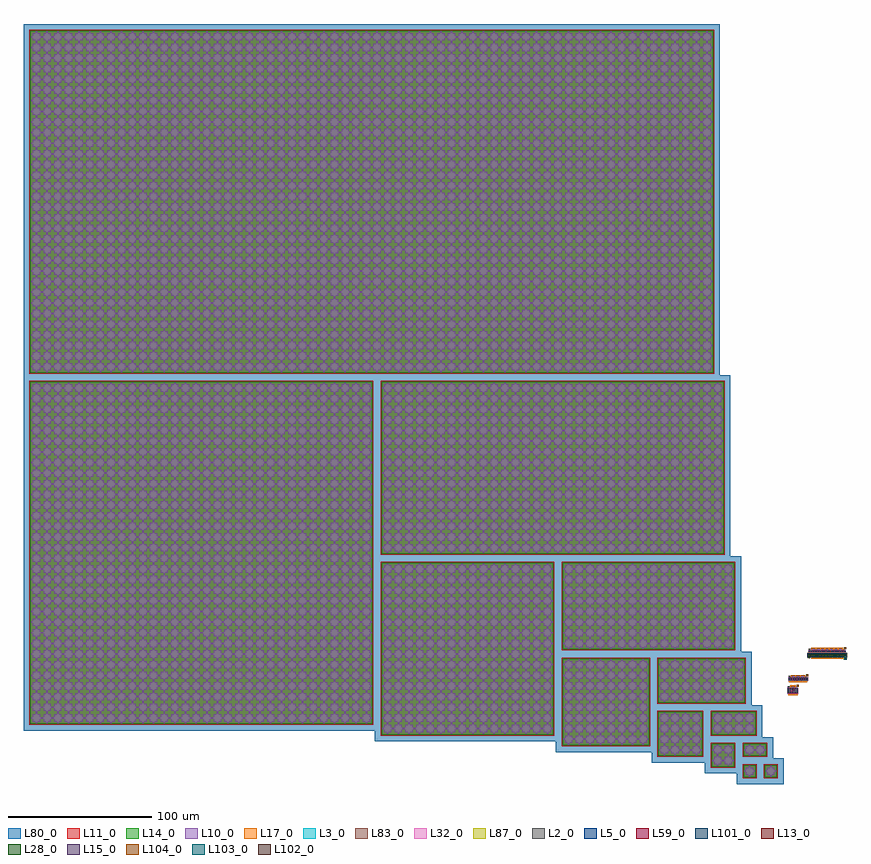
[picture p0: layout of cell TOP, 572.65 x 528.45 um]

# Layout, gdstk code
from math import pi, radians
import gdstk
lib = gdstk.Library(unit=1e-6, precision=1e-09)
def R(c, l, rs):  # rectangles x0, y0, x1, y1
    for r in rs: c.add(gdstk.rectangle(r[:2], r[2:], *l))
L2_0 = (2, 0)
L3_0 = (3, 0)
L5_0 = (5, 0)
L10_0 = (10, 0)
L11_0 = (11, 0)
L13_0 = (13, 0)
L14_0 = (14, 0)
L15_0 = (15, 0)
L17_0 = (17, 0)
L28_0 = (28, 0)
L32_0 = (32, 0)
L59_0 = (59, 0)
L80_0 = (80, 0)
L83_0 = (83, 0)
L87_0 = (87, 0)
L101_0 = (101, 0)
L102_0 = (102, 0)
L103_0 = (103, 0)
L104_0 = (104, 0)

ccpopo = lib.new_cell('CCPOPO')
R(ccpopo, L10_0, [(-1710.25,-1125,-1705.25,-1120)])
R(ccpopo, L11_0, [(-1712.65,-1127.4,-1702.85,-1117.6)])
R(ccpopo, L14_0, [(-1711.95,-1126.7,-1703.55,-1118.3)])
R(ccpopo, L80_0, [(-1716.65,-1131.4,-1698.85,-1113.6)])

unitcap = lib.new_cell('UnitCap')
unitcap.add(gdstk.FlexPath([(1133.9,-1701.25),(1133.9,-1700.05)], 1, ends="flush", simple_path=True, layer=10, datatype=0))  # L10_0
unitcap.add(gdstk.FlexPath([(1133.9,-1706.25),(1133.9,-1707.45)], 1, ends="flush", simple_path=True, layer=10, datatype=0))  # L10_0
unitcap.add(gdstk.FlexPath([(1136.4,-1703.75),(1137.6,-1703.75)], 1, ends="flush", simple_path=True, layer=10, datatype=0))  # L10_0
unitcap.add(gdstk.FlexPath([(1131.4,-1703.75),(1130.2,-1703.75)], 1, ends="flush", simple_path=True, layer=10, datatype=0))  # L10_0
unitcap.add(gdstk.Reference(ccpopo, (11.4,4), rotation=pi/2))

dcont = lib.new_cell('dcont')
R(dcont, L3_0, [(-0.4,-0.4,0.4,0.4)])
R(dcont, L15_0, [(-0.2,-0.2,0.2,0.2)])
R(dcont, L101_0, [(-0.4,-0.4,0.4,0.4)])

pcont = lib.new_cell('pcont')
R(pcont, L10_0, [(-0.4,-0.4,0.4,0.4)])
R(pcont, L15_0, [(-0.2,-0.2,0.2,0.2)])
R(pcont, L17_0, [(-0.3,-0.3,0.3,0.3)])
R(pcont, L102_0, [(-0.4,-0.4,0.4,0.4)])

dcont_1 = lib.new_cell('dcont$1')
R(dcont_1, L3_0, [(-0.4,-0.4,0.4,0.4)])
R(dcont_1, L15_0, [(-0.2,-0.2,0.2,0.2)])
R(dcont_1, L17_0, [(-0.3,-0.3,0.3,0.3)])
R(dcont_1, L101_0, [(-0.5,-0.5,0.5,0.5)])

psubcont = lib.new_cell('psubcont')
R(psubcont, L13_0, [(-0.7,-0.7,0.7,0.7)])
R(psubcont, L14_0, [(-0.7,-0.7,0.7,0.7)])
R(psubcont, L104_0, [(-0.7,-0.7,0.7,0.7)])
psubcont.add(gdstk.Reference(dcont_1, (0,0)))

nch_4 = lib.new_cell('Nch$4')
R(nch_4, L3_0, [(0,1.4,25.6,2.3)])
R(nch_4, L32_0, [(-0.3,1.1,25.9,2.6)])
R(nch_4, L59_0, [(0,1.4,25.6,2.3)])
R(nch_4, L83_0, [(-0.3,1.1,25.9,2.6)])
nch_4.add(gdstk.FlexPath([(0.4,1.4),(0.4,2.3)], 0.8, ends="flush", simple_path=True, layer=17, datatype=0))  # L17_0
nch_4.add(gdstk.FlexPath([(1.95,1.4),(1.95,2.3)], 0.8, ends="flush", simple_path=True, layer=17, datatype=0))  # L17_0
nch_4.add(gdstk.FlexPath([(3.5,1.4),(3.5,2.3)], 0.8, ends="flush", simple_path=True, layer=17, datatype=0))  # L17_0
nch_4.add(gdstk.FlexPath([(5.05,1.4),(5.05,2.3)], 0.8, ends="flush", simple_path=True, layer=17, datatype=0))  # L17_0
nch_4.add(gdstk.FlexPath([(6.6,1.4),(6.6,2.3)], 0.8, ends="flush", simple_path=True, layer=17, datatype=0))  # L17_0
nch_4.add(gdstk.FlexPath([(8.15,1.4),(8.15,2.3)], 0.8, ends="flush", simple_path=True, layer=17, datatype=0))  # L17_0
nch_4.add(gdstk.FlexPath([(9.7,1.4),(9.7,2.3)], 0.8, ends="flush", simple_path=True, layer=17, datatype=0))  # L17_0
nch_4.add(gdstk.FlexPath([(11.25,1.4),(11.25,2.3)], 0.8, ends="flush", simple_path=True, layer=17, datatype=0))  # L17_0
nch_4.add(gdstk.FlexPath([(12.8,1.4),(12.8,2.3)], 0.8, ends="flush", simple_path=True, layer=17, datatype=0))  # L17_0
nch_4.add(gdstk.FlexPath([(14.35,1.4),(14.35,2.3)], 0.8, ends="flush", simple_path=True, layer=17, datatype=0))  # L17_0
nch_4.add(gdstk.FlexPath([(15.9,1.4),(15.9,2.3)], 0.8, ends="flush", simple_path=True, layer=17, datatype=0))  # L17_0
nch_4.add(gdstk.FlexPath([(17.45,1.4),(17.45,2.3)], 0.8, ends="flush", simple_path=True, layer=17, datatype=0))  # L17_0
nch_4.add(gdstk.FlexPath([(19,1.4),(19,2.3)], 0.8, ends="flush", simple_path=True, layer=17, datatype=0))  # L17_0
nch_4.add(gdstk.FlexPath([(20.55,1.4),(20.55,2.3)], 0.8, ends="flush", simple_path=True, layer=17, datatype=0))  # L17_0
nch_4.add(gdstk.FlexPath([(22.1,1.4),(22.1,2.3)], 0.8, ends="flush", simple_path=True, layer=17, datatype=0))  # L17_0
nch_4.add(gdstk.FlexPath([(23.65,1.4),(23.65,2.3)], 0.8, ends="flush", simple_path=True, layer=17, datatype=0))  # L17_0
nch_4.add(gdstk.FlexPath([(25.2,1.4),(25.2,2.3)], 0.8, ends="flush", simple_path=True, layer=17, datatype=0))  # L17_0
nch_4.add(gdstk.FlexPath([(0.4,0.4),(0.4,2)], 0.6, ends="flush", simple_path=True, layer=17, datatype=0))  # L17_0
nch_4.add(gdstk.FlexPath([(1.95,1.7),(1.95,3.9)], 0.6, ends="flush", simple_path=True, layer=17, datatype=0))  # L17_0
nch_4.add(gdstk.FlexPath([(3.5,0.4),(3.5,2)], 0.6, ends="flush", simple_path=True, layer=17, datatype=0))  # L17_0
nch_4.add(gdstk.FlexPath([(0.4,0.4),(3.5,0.4)], 0.6, ends="extended", simple_path=True, layer=17, datatype=0))  # L17_0
nch_4.add(gdstk.FlexPath([(5.05,1.7),(5.05,3.9)], 0.6, ends="flush", simple_path=True, layer=17, datatype=0))  # L17_0
nch_4.add(gdstk.FlexPath([(1.95,3.9),(5.05,3.9)], 0.6, ends="extended", simple_path=True, layer=17, datatype=0))  # L17_0
nch_4.add(gdstk.FlexPath([(6.6,0.4),(6.6,2)], 0.6, ends="flush", simple_path=True, layer=17, datatype=0))  # L17_0
nch_4.add(gdstk.FlexPath([(3.5,0.4),(6.6,0.4)], 0.6, ends="extended", simple_path=True, layer=17, datatype=0))  # L17_0
nch_4.add(gdstk.FlexPath([(8.15,1.7),(8.15,3.9)], 0.6, ends="flush", simple_path=True, layer=17, datatype=0))  # L17_0
nch_4.add(gdstk.FlexPath([(5.05,3.9),(8.15,3.9)], 0.6, ends="extended", simple_path=True, layer=17, datatype=0))  # L17_0
nch_4.add(gdstk.FlexPath([(9.7,0.4),(9.7,2)], 0.6, ends="flush", simple_path=True, layer=17, datatype=0))  # L17_0
nch_4.add(gdstk.FlexPath([(6.6,0.4),(9.7,0.4)], 0.6, ends="extended", simple_path=True, layer=17, datatype=0))  # L17_0
nch_4.add(gdstk.FlexPath([(11.25,1.7),(11.25,3.9)], 0.6, ends="flush", simple_path=True, layer=17, datatype=0))  # L17_0
nch_4.add(gdstk.FlexPath([(8.15,3.9),(11.25,3.9)], 0.6, ends="extended", simple_path=True, layer=17, datatype=0))  # L17_0
nch_4.add(gdstk.FlexPath([(12.8,0.4),(12.8,2)], 0.6, ends="flush", simple_path=True, layer=17, datatype=0))  # L17_0
nch_4.add(gdstk.FlexPath([(9.7,0.4),(12.8,0.4)], 0.6, ends="extended", simple_path=True, layer=17, datatype=0))  # L17_0
nch_4.add(gdstk.FlexPath([(14.35,1.7),(14.35,3.9)], 0.6, ends="flush", simple_path=True, layer=17, datatype=0))  # L17_0
nch_4.add(gdstk.FlexPath([(11.25,3.9),(14.35,3.9)], 0.6, ends="extended", simple_path=True, layer=17, datatype=0))  # L17_0
nch_4.add(gdstk.FlexPath([(15.9,0.4),(15.9,2)], 0.6, ends="flush", simple_path=True, layer=17, datatype=0))  # L17_0
nch_4.add(gdstk.FlexPath([(12.8,0.4),(15.9,0.4)], 0.6, ends="extended", simple_path=True, layer=17, datatype=0))  # L17_0
nch_4.add(gdstk.FlexPath([(17.45,1.7),(17.45,3.9)], 0.6, ends="flush", simple_path=True, layer=17, datatype=0))  # L17_0
nch_4.add(gdstk.FlexPath([(14.35,3.9),(17.45,3.9)], 0.6, ends="extended", simple_path=True, layer=17, datatype=0))  # L17_0
nch_4.add(gdstk.FlexPath([(19,0.4),(19,2)], 0.6, ends="flush", simple_path=True, layer=17, datatype=0))  # L17_0
nch_4.add(gdstk.FlexPath([(15.9,0.4),(19,0.4)], 0.6, ends="extended", simple_path=True, layer=17, datatype=0))  # L17_0
nch_4.add(gdstk.FlexPath([(20.55,1.7),(20.55,3.9)], 0.6, ends="flush", simple_path=True, layer=17, datatype=0))  # L17_0
nch_4.add(gdstk.FlexPath([(17.45,3.9),(20.55,3.9)], 0.6, ends="extended", simple_path=True, layer=17, datatype=0))  # L17_0
nch_4.add(gdstk.FlexPath([(22.1,0.4),(22.1,2)], 0.6, ends="flush", simple_path=True, layer=17, datatype=0))  # L17_0
nch_4.add(gdstk.FlexPath([(19,0.4),(22.1,0.4)], 0.6, ends="extended", simple_path=True, layer=17, datatype=0))  # L17_0
nch_4.add(gdstk.FlexPath([(23.65,1.7),(23.65,3.9)], 0.6, ends="flush", simple_path=True, layer=17, datatype=0))  # L17_0
nch_4.add(gdstk.FlexPath([(20.55,3.9),(23.65,3.9)], 0.6, ends="extended", simple_path=True, layer=17, datatype=0))  # L17_0
nch_4.add(gdstk.FlexPath([(25.2,0.4),(25.2,2)], 0.6, ends="flush", simple_path=True, layer=17, datatype=0))  # L17_0
nch_4.add(gdstk.FlexPath([(22.1,0.4),(25.2,0.4)], 0.6, ends="extended", simple_path=True, layer=17, datatype=0))  # L17_0
nch_4.add(gdstk.FlexPath([(1.175,1.4),(1.175,2.3)], 0.35, ends=(0.4, 0.4), simple_path=True, layer=10, datatype=0))  # L10_0
nch_4.add(gdstk.FlexPath([(2.725,1.4),(2.725,2.3)], 0.35, ends=(0.4, 0.4), simple_path=True, layer=10, datatype=0))  # L10_0
nch_4.add(gdstk.FlexPath([(4.275,1.4),(4.275,2.3)], 0.35, ends=(0.4, 0.4), simple_path=True, layer=10, datatype=0))  # L10_0
nch_4.add(gdstk.FlexPath([(5.825,1.4),(5.825,2.3)], 0.35, ends=(0.4, 0.4), simple_path=True, layer=10, datatype=0))  # L10_0
nch_4.add(gdstk.FlexPath([(7.375,1.4),(7.375,2.3)], 0.35, ends=(0.4, 0.4), simple_path=True, layer=10, datatype=0))  # L10_0
nch_4.add(gdstk.FlexPath([(8.925,1.4),(8.925,2.3)], 0.35, ends=(0.4, 0.4), simple_path=True, layer=10, datatype=0))  # L10_0
nch_4.add(gdstk.FlexPath([(10.475,1.4),(10.475,2.3)], 0.35, ends=(0.4, 0.4), simple_path=True, layer=10, datatype=0))  # L10_0
nch_4.add(gdstk.FlexPath([(12.025,1.4),(12.025,2.3)], 0.35, ends=(0.4, 0.4), simple_path=True, layer=10, datatype=0))  # L10_0
nch_4.add(gdstk.FlexPath([(13.575,1.4),(13.575,2.3)], 0.35, ends=(0.4, 0.4), simple_path=True, layer=10, datatype=0))  # L10_0
nch_4.add(gdstk.FlexPath([(15.125,1.4),(15.125,2.3)], 0.35, ends=(0.4, 0.4), simple_path=True, layer=10, datatype=0))  # L10_0
nch_4.add(gdstk.FlexPath([(16.675,1.4),(16.675,2.3)], 0.35, ends=(0.4, 0.4), simple_path=True, layer=10, datatype=0))  # L10_0
nch_4.add(gdstk.FlexPath([(18.225,1.4),(18.225,2.3)], 0.35, ends=(0.4, 0.4), simple_path=True, layer=10, datatype=0))  # L10_0
nch_4.add(gdstk.FlexPath([(19.775,1.4),(19.775,2.3)], 0.35, ends=(0.4, 0.4), simple_path=True, layer=10, datatype=0))  # L10_0
nch_4.add(gdstk.FlexPath([(21.325,1.4),(21.325,2.3)], 0.35, ends=(0.4, 0.4), simple_path=True, layer=10, datatype=0))  # L10_0
nch_4.add(gdstk.FlexPath([(22.875,1.4),(22.875,2.3)], 0.35, ends=(0.4, 0.4), simple_path=True, layer=10, datatype=0))  # L10_0
nch_4.add(gdstk.FlexPath([(24.425,1.4),(24.425,2.3)], 0.35, ends=(0.4, 0.4), simple_path=True, layer=10, datatype=0))  # L10_0
nch_4.add(gdstk.FlexPath([(0.4,3.2),(1.3,3.2),(1.3,2.7)], 0.6, ends="flush", simple_path=True, layer=10, datatype=0))  # L10_0
nch_4.add(gdstk.FlexPath([(1,3),(2.9,3)], 0.6, ends="flush", simple_path=True, layer=10, datatype=0))  # L10_0
nch_4.add(gdstk.FlexPath([(2.55,3),(4.45,3)], 0.6, ends="flush", simple_path=True, layer=10, datatype=0))  # L10_0
nch_4.add(gdstk.FlexPath([(4.1,3),(6,3)], 0.6, ends="flush", simple_path=True, layer=10, datatype=0))  # L10_0
nch_4.add(gdstk.FlexPath([(5.65,3),(7.55,3)], 0.6, ends="flush", simple_path=True, layer=10, datatype=0))  # L10_0
nch_4.add(gdstk.FlexPath([(7.2,3),(9.1,3)], 0.6, ends="flush", simple_path=True, layer=10, datatype=0))  # L10_0
nch_4.add(gdstk.FlexPath([(8.75,3),(10.65,3)], 0.6, ends="flush", simple_path=True, layer=10, datatype=0))  # L10_0
nch_4.add(gdstk.FlexPath([(10.3,3),(12.2,3)], 0.6, ends="flush", simple_path=True, layer=10, datatype=0))  # L10_0
nch_4.add(gdstk.FlexPath([(11.85,3),(13.75,3)], 0.6, ends="flush", simple_path=True, layer=10, datatype=0))  # L10_0
nch_4.add(gdstk.FlexPath([(13.4,3),(15.3,3)], 0.6, ends="flush", simple_path=True, layer=10, datatype=0))  # L10_0
nch_4.add(gdstk.FlexPath([(14.95,3),(16.85,3)], 0.6, ends="flush", simple_path=True, layer=10, datatype=0))  # L10_0
nch_4.add(gdstk.FlexPath([(16.5,3),(18.4,3)], 0.6, ends="flush", simple_path=True, layer=10, datatype=0))  # L10_0
nch_4.add(gdstk.FlexPath([(18.05,3),(19.95,3)], 0.6, ends="flush", simple_path=True, layer=10, datatype=0))  # L10_0
nch_4.add(gdstk.FlexPath([(19.6,3),(21.5,3)], 0.6, ends="flush", simple_path=True, layer=10, datatype=0))  # L10_0
nch_4.add(gdstk.FlexPath([(21.15,3),(23.05,3)], 0.6, ends="flush", simple_path=True, layer=10, datatype=0))  # L10_0
nch_4.add(gdstk.FlexPath([(22.7,3),(24.6,3)], 0.6, ends="flush", simple_path=True, layer=10, datatype=0))  # L10_0
nch_4.add(gdstk.Reference(dcont, (0.4,1.85)))
nch_4.add(gdstk.Reference(dcont, (1.95,1.85)))
nch_4.add(gdstk.Reference(dcont, (3.5,1.85)))
nch_4.add(gdstk.Reference(dcont, (5.05,1.85)))
nch_4.add(gdstk.Reference(dcont, (6.6,1.85)))
nch_4.add(gdstk.Reference(dcont, (8.15,1.85)))
nch_4.add(gdstk.Reference(dcont, (9.7,1.85)))
nch_4.add(gdstk.Reference(dcont, (11.25,1.85)))
nch_4.add(gdstk.Reference(dcont, (12.8,1.85)))
nch_4.add(gdstk.Reference(dcont, (14.35,1.85)))
nch_4.add(gdstk.Reference(dcont, (15.9,1.85)))
nch_4.add(gdstk.Reference(dcont, (17.45,1.85)))
nch_4.add(gdstk.Reference(dcont, (19,1.85)))
nch_4.add(gdstk.Reference(dcont, (20.55,1.85)))
nch_4.add(gdstk.Reference(dcont, (22.1,1.85)))
nch_4.add(gdstk.Reference(dcont, (23.65,1.85)))
nch_4.add(gdstk.Reference(dcont, (25.2,1.85)))
nch_4.add(gdstk.Reference(pcont, (0.4,3.3)))
nch_4.add(gdstk.Reference(psubcont, (25.35,3.9)))

nch_3 = lib.new_cell('Nch$3')
R(nch_3, L3_0, [(0,1.4,7,5)])
R(nch_3, L32_0, [(-0.3,1.1,7.3,5.3)])
R(nch_3, L59_0, [(0,1.4,7,5)])
R(nch_3, L83_0, [(-0.3,1.1,7.3,5.3)])
nch_3.add(gdstk.FlexPath([(0.4,1.4),(0.4,5)], 0.8, ends="flush", simple_path=True, layer=17, datatype=0))  # L17_0
nch_3.add(gdstk.FlexPath([(1.95,1.4),(1.95,5)], 0.8, ends="flush", simple_path=True, layer=17, datatype=0))  # L17_0
nch_3.add(gdstk.FlexPath([(3.5,1.4),(3.5,5)], 0.8, ends="flush", simple_path=True, layer=17, datatype=0))  # L17_0
nch_3.add(gdstk.FlexPath([(5.05,1.4),(5.05,5)], 0.8, ends="flush", simple_path=True, layer=17, datatype=0))  # L17_0
nch_3.add(gdstk.FlexPath([(6.6,1.4),(6.6,5)], 0.8, ends="flush", simple_path=True, layer=17, datatype=0))  # L17_0
nch_3.add(gdstk.FlexPath([(0.4,0.4),(0.4,2)], 0.6, ends="flush", simple_path=True, layer=17, datatype=0))  # L17_0
nch_3.add(gdstk.FlexPath([(1.95,4.4),(1.95,6.6)], 0.6, ends="flush", simple_path=True, layer=17, datatype=0))  # L17_0
nch_3.add(gdstk.FlexPath([(3.5,0.4),(3.5,2)], 0.6, ends="flush", simple_path=True, layer=17, datatype=0))  # L17_0
nch_3.add(gdstk.FlexPath([(0.4,0.4),(3.5,0.4)], 0.6, ends="extended", simple_path=True, layer=17, datatype=0))  # L17_0
nch_3.add(gdstk.FlexPath([(5.05,4.4),(5.05,6.6)], 0.6, ends="flush", simple_path=True, layer=17, datatype=0))  # L17_0
nch_3.add(gdstk.FlexPath([(1.95,6.6),(5.05,6.6)], 0.6, ends="extended", simple_path=True, layer=17, datatype=0))  # L17_0
nch_3.add(gdstk.FlexPath([(6.6,0.4),(6.6,2)], 0.6, ends="flush", simple_path=True, layer=17, datatype=0))  # L17_0
nch_3.add(gdstk.FlexPath([(3.5,0.4),(6.6,0.4)], 0.6, ends="extended", simple_path=True, layer=17, datatype=0))  # L17_0
nch_3.add(gdstk.FlexPath([(1.175,1.4),(1.175,5)], 0.35, ends=(0.4, 0.4), simple_path=True, layer=10, datatype=0))  # L10_0
nch_3.add(gdstk.FlexPath([(2.725,1.4),(2.725,5)], 0.35, ends=(0.4, 0.4), simple_path=True, layer=10, datatype=0))  # L10_0
nch_3.add(gdstk.FlexPath([(4.275,1.4),(4.275,5)], 0.35, ends=(0.4, 0.4), simple_path=True, layer=10, datatype=0))  # L10_0
nch_3.add(gdstk.FlexPath([(5.825,1.4),(5.825,5)], 0.35, ends=(0.4, 0.4), simple_path=True, layer=10, datatype=0))  # L10_0
nch_3.add(gdstk.FlexPath([(0.4,5.9),(1.3,5.9),(1.3,5.4)], 0.6, ends="flush", simple_path=True, layer=10, datatype=0))  # L10_0
nch_3.add(gdstk.FlexPath([(1,5.7),(2.9,5.7)], 0.6, ends="flush", simple_path=True, layer=10, datatype=0))  # L10_0
nch_3.add(gdstk.FlexPath([(2.55,5.7),(4.45,5.7)], 0.6, ends="flush", simple_path=True, layer=10, datatype=0))  # L10_0
nch_3.add(gdstk.FlexPath([(4.1,5.7),(6,5.7)], 0.6, ends="flush", simple_path=True, layer=10, datatype=0))  # L10_0
nch_3.add(gdstk.Reference(dcont, (0.4,2)))
nch_3.add(gdstk.Reference(dcont, (0.4,2.8)))
nch_3.add(gdstk.Reference(dcont, (0.4,3.6)))
nch_3.add(gdstk.Reference(dcont, (0.4,4.4)))
nch_3.add(gdstk.Reference(dcont, (1.95,2)))
nch_3.add(gdstk.Reference(dcont, (1.95,2.8)))
nch_3.add(gdstk.Reference(dcont, (1.95,3.6)))
nch_3.add(gdstk.Reference(dcont, (1.95,4.4)))
nch_3.add(gdstk.Reference(dcont, (3.5,2)))
nch_3.add(gdstk.Reference(dcont, (3.5,2.8)))
nch_3.add(gdstk.Reference(dcont, (3.5,3.6)))
nch_3.add(gdstk.Reference(dcont, (3.5,4.4)))
nch_3.add(gdstk.Reference(dcont, (5.05,2)))
nch_3.add(gdstk.Reference(dcont, (5.05,2.8)))
nch_3.add(gdstk.Reference(dcont, (5.05,3.6)))
nch_3.add(gdstk.Reference(dcont, (5.05,4.4)))
nch_3.add(gdstk.Reference(dcont, (6.6,2)))
nch_3.add(gdstk.Reference(dcont, (6.6,2.8)))
nch_3.add(gdstk.Reference(dcont, (6.6,3.6)))
nch_3.add(gdstk.Reference(dcont, (6.6,4.4)))
nch_3.add(gdstk.Reference(pcont, (0.4,6)))
nch_3.add(gdstk.Reference(psubcont, (6.75,6.6)))

nch_2 = lib.new_cell('Nch$2')
R(nch_2, L3_0, [(0,1.4,13.2,3.2)])
R(nch_2, L32_0, [(-0.3,1.1,13.5,3.5)])
R(nch_2, L59_0, [(0,1.4,13.2,3.2)])
R(nch_2, L83_0, [(-0.3,1.1,13.5,3.5)])
nch_2.add(gdstk.FlexPath([(0.4,1.4),(0.4,3.2)], 0.8, ends="flush", simple_path=True, layer=17, datatype=0))  # L17_0
nch_2.add(gdstk.FlexPath([(1.95,1.4),(1.95,3.2)], 0.8, ends="flush", simple_path=True, layer=17, datatype=0))  # L17_0
nch_2.add(gdstk.FlexPath([(3.5,1.4),(3.5,3.2)], 0.8, ends="flush", simple_path=True, layer=17, datatype=0))  # L17_0
nch_2.add(gdstk.FlexPath([(5.05,1.4),(5.05,3.2)], 0.8, ends="flush", simple_path=True, layer=17, datatype=0))  # L17_0
nch_2.add(gdstk.FlexPath([(6.6,1.4),(6.6,3.2)], 0.8, ends="flush", simple_path=True, layer=17, datatype=0))  # L17_0
nch_2.add(gdstk.FlexPath([(8.15,1.4),(8.15,3.2)], 0.8, ends="flush", simple_path=True, layer=17, datatype=0))  # L17_0
nch_2.add(gdstk.FlexPath([(9.7,1.4),(9.7,3.2)], 0.8, ends="flush", simple_path=True, layer=17, datatype=0))  # L17_0
nch_2.add(gdstk.FlexPath([(11.25,1.4),(11.25,3.2)], 0.8, ends="flush", simple_path=True, layer=17, datatype=0))  # L17_0
nch_2.add(gdstk.FlexPath([(12.8,1.4),(12.8,3.2)], 0.8, ends="flush", simple_path=True, layer=17, datatype=0))  # L17_0
nch_2.add(gdstk.FlexPath([(0.4,0.4),(0.4,2)], 0.6, ends="flush", simple_path=True, layer=17, datatype=0))  # L17_0
nch_2.add(gdstk.FlexPath([(1.95,2.6),(1.95,4.8)], 0.6, ends="flush", simple_path=True, layer=17, datatype=0))  # L17_0
nch_2.add(gdstk.FlexPath([(3.5,0.4),(3.5,2)], 0.6, ends="flush", simple_path=True, layer=17, datatype=0))  # L17_0
nch_2.add(gdstk.FlexPath([(0.4,0.4),(3.5,0.4)], 0.6, ends="extended", simple_path=True, layer=17, datatype=0))  # L17_0
nch_2.add(gdstk.FlexPath([(5.05,2.6),(5.05,4.8)], 0.6, ends="flush", simple_path=True, layer=17, datatype=0))  # L17_0
nch_2.add(gdstk.FlexPath([(1.95,4.8),(5.05,4.8)], 0.6, ends="extended", simple_path=True, layer=17, datatype=0))  # L17_0
nch_2.add(gdstk.FlexPath([(6.6,0.4),(6.6,2)], 0.6, ends="flush", simple_path=True, layer=17, datatype=0))  # L17_0
nch_2.add(gdstk.FlexPath([(3.5,0.4),(6.6,0.4)], 0.6, ends="extended", simple_path=True, layer=17, datatype=0))  # L17_0
nch_2.add(gdstk.FlexPath([(8.15,2.6),(8.15,4.8)], 0.6, ends="flush", simple_path=True, layer=17, datatype=0))  # L17_0
nch_2.add(gdstk.FlexPath([(5.05,4.8),(8.15,4.8)], 0.6, ends="extended", simple_path=True, layer=17, datatype=0))  # L17_0
nch_2.add(gdstk.FlexPath([(9.7,0.4),(9.7,2)], 0.6, ends="flush", simple_path=True, layer=17, datatype=0))  # L17_0
nch_2.add(gdstk.FlexPath([(6.6,0.4),(9.7,0.4)], 0.6, ends="extended", simple_path=True, layer=17, datatype=0))  # L17_0
nch_2.add(gdstk.FlexPath([(11.25,2.6),(11.25,4.8)], 0.6, ends="flush", simple_path=True, layer=17, datatype=0))  # L17_0
nch_2.add(gdstk.FlexPath([(8.15,4.8),(11.25,4.8)], 0.6, ends="extended", simple_path=True, layer=17, datatype=0))  # L17_0
nch_2.add(gdstk.FlexPath([(12.8,0.4),(12.8,2)], 0.6, ends="flush", simple_path=True, layer=17, datatype=0))  # L17_0
nch_2.add(gdstk.FlexPath([(9.7,0.4),(12.8,0.4)], 0.6, ends="extended", simple_path=True, layer=17, datatype=0))  # L17_0
nch_2.add(gdstk.FlexPath([(1.175,1.4),(1.175,3.2)], 0.35, ends=(0.4, 0.4), simple_path=True, layer=10, datatype=0))  # L10_0
nch_2.add(gdstk.FlexPath([(2.725,1.4),(2.725,3.2)], 0.35, ends=(0.4, 0.4), simple_path=True, layer=10, datatype=0))  # L10_0
nch_2.add(gdstk.FlexPath([(4.275,1.4),(4.275,3.2)], 0.35, ends=(0.4, 0.4), simple_path=True, layer=10, datatype=0))  # L10_0
nch_2.add(gdstk.FlexPath([(5.825,1.4),(5.825,3.2)], 0.35, ends=(0.4, 0.4), simple_path=True, layer=10, datatype=0))  # L10_0
nch_2.add(gdstk.FlexPath([(7.375,1.4),(7.375,3.2)], 0.35, ends=(0.4, 0.4), simple_path=True, layer=10, datatype=0))  # L10_0
nch_2.add(gdstk.FlexPath([(8.925,1.4),(8.925,3.2)], 0.35, ends=(0.4, 0.4), simple_path=True, layer=10, datatype=0))  # L10_0
nch_2.add(gdstk.FlexPath([(10.475,1.4),(10.475,3.2)], 0.35, ends=(0.4, 0.4), simple_path=True, layer=10, datatype=0))  # L10_0
nch_2.add(gdstk.FlexPath([(12.025,1.4),(12.025,3.2)], 0.35, ends=(0.4, 0.4), simple_path=True, layer=10, datatype=0))  # L10_0
nch_2.add(gdstk.FlexPath([(0.4,4.1),(1.3,4.1),(1.3,3.6)], 0.6, ends="flush", simple_path=True, layer=10, datatype=0))  # L10_0
nch_2.add(gdstk.FlexPath([(1,3.9),(2.9,3.9)], 0.6, ends="flush", simple_path=True, layer=10, datatype=0))  # L10_0
nch_2.add(gdstk.FlexPath([(2.55,3.9),(4.45,3.9)], 0.6, ends="flush", simple_path=True, layer=10, datatype=0))  # L10_0
nch_2.add(gdstk.FlexPath([(4.1,3.9),(6,3.9)], 0.6, ends="flush", simple_path=True, layer=10, datatype=0))  # L10_0
nch_2.add(gdstk.FlexPath([(5.65,3.9),(7.55,3.9)], 0.6, ends="flush", simple_path=True, layer=10, datatype=0))  # L10_0
nch_2.add(gdstk.FlexPath([(7.2,3.9),(9.1,3.9)], 0.6, ends="flush", simple_path=True, layer=10, datatype=0))  # L10_0
nch_2.add(gdstk.FlexPath([(8.75,3.9),(10.65,3.9)], 0.6, ends="flush", simple_path=True, layer=10, datatype=0))  # L10_0
nch_2.add(gdstk.FlexPath([(10.3,3.9),(12.2,3.9)], 0.6, ends="flush", simple_path=True, layer=10, datatype=0))  # L10_0
nch_2.add(gdstk.Reference(dcont, (0.4,1.9)))
nch_2.add(gdstk.Reference(dcont, (0.4,2.7)))
nch_2.add(gdstk.Reference(dcont, (1.95,1.9)))
nch_2.add(gdstk.Reference(dcont, (1.95,2.7)))
nch_2.add(gdstk.Reference(dcont, (3.5,1.9)))
nch_2.add(gdstk.Reference(dcont, (3.5,2.7)))
nch_2.add(gdstk.Reference(dcont, (5.05,1.9)))
nch_2.add(gdstk.Reference(dcont, (5.05,2.7)))
nch_2.add(gdstk.Reference(dcont, (6.6,1.9)))
nch_2.add(gdstk.Reference(dcont, (6.6,2.7)))
nch_2.add(gdstk.Reference(dcont, (8.15,1.9)))
nch_2.add(gdstk.Reference(dcont, (8.15,2.7)))
nch_2.add(gdstk.Reference(dcont, (9.7,1.9)))
nch_2.add(gdstk.Reference(dcont, (9.7,2.7)))
nch_2.add(gdstk.Reference(dcont, (11.25,1.9)))
nch_2.add(gdstk.Reference(dcont, (11.25,2.7)))
nch_2.add(gdstk.Reference(dcont, (12.8,1.9)))
nch_2.add(gdstk.Reference(dcont, (12.8,2.7)))
nch_2.add(gdstk.Reference(pcont, (0.4,4.2)))
nch_2.add(gdstk.Reference(psubcont, (12.95,4.8)))

nsubcont = lib.new_cell('nsubcont')
R(nsubcont, L2_0, [(-0.85,-0.85,0.85,0.85)])
R(nsubcont, L5_0, [(-0.85,-0.85,0.85,0.85)])
R(nsubcont, L87_0, [(-1.05,-1.05,1.05,1.05)])
R(nsubcont, L103_0, [(-0.9,-0.9,0.9,0.9)])
nsubcont.add(gdstk.Reference(dcont_1, (0,0)))

pch_1 = lib.new_cell('Pch$1')
R(pch_1, L2_0, [(-1,0.4,26.6,3.3)])
R(pch_1, L3_0, [(0,1.4,25.6,2.3)])
R(pch_1, L5_0, [(-1,0.4,26.6,3.3)])
R(pch_1, L13_0, [(-0.3,1.1,25.9,2.6)])
R(pch_1, L14_0, [(-0.3,1.1,25.9,2.6)])
R(pch_1, L28_0, [(-0.3,1.1,25.9,2.6)])
R(pch_1, L87_0, [(-1.2,0.2,26.8,3.5)])
pch_1.add(gdstk.FlexPath([(0.4,1.4),(0.4,2.3)], 0.8, ends="flush", simple_path=True, layer=17, datatype=0))  # L17_0
pch_1.add(gdstk.FlexPath([(1.95,1.4),(1.95,2.3)], 0.8, ends="flush", simple_path=True, layer=17, datatype=0))  # L17_0
pch_1.add(gdstk.FlexPath([(3.5,1.4),(3.5,2.3)], 0.8, ends="flush", simple_path=True, layer=17, datatype=0))  # L17_0
pch_1.add(gdstk.FlexPath([(5.05,1.4),(5.05,2.3)], 0.8, ends="flush", simple_path=True, layer=17, datatype=0))  # L17_0
pch_1.add(gdstk.FlexPath([(6.6,1.4),(6.6,2.3)], 0.8, ends="flush", simple_path=True, layer=17, datatype=0))  # L17_0
pch_1.add(gdstk.FlexPath([(8.15,1.4),(8.15,2.3)], 0.8, ends="flush", simple_path=True, layer=17, datatype=0))  # L17_0
pch_1.add(gdstk.FlexPath([(9.7,1.4),(9.7,2.3)], 0.8, ends="flush", simple_path=True, layer=17, datatype=0))  # L17_0
pch_1.add(gdstk.FlexPath([(11.25,1.4),(11.25,2.3)], 0.8, ends="flush", simple_path=True, layer=17, datatype=0))  # L17_0
pch_1.add(gdstk.FlexPath([(12.8,1.4),(12.8,2.3)], 0.8, ends="flush", simple_path=True, layer=17, datatype=0))  # L17_0
pch_1.add(gdstk.FlexPath([(14.35,1.4),(14.35,2.3)], 0.8, ends="flush", simple_path=True, layer=17, datatype=0))  # L17_0
pch_1.add(gdstk.FlexPath([(15.9,1.4),(15.9,2.3)], 0.8, ends="flush", simple_path=True, layer=17, datatype=0))  # L17_0
pch_1.add(gdstk.FlexPath([(17.45,1.4),(17.45,2.3)], 0.8, ends="flush", simple_path=True, layer=17, datatype=0))  # L17_0
pch_1.add(gdstk.FlexPath([(19,1.4),(19,2.3)], 0.8, ends="flush", simple_path=True, layer=17, datatype=0))  # L17_0
pch_1.add(gdstk.FlexPath([(20.55,1.4),(20.55,2.3)], 0.8, ends="flush", simple_path=True, layer=17, datatype=0))  # L17_0
pch_1.add(gdstk.FlexPath([(22.1,1.4),(22.1,2.3)], 0.8, ends="flush", simple_path=True, layer=17, datatype=0))  # L17_0
pch_1.add(gdstk.FlexPath([(23.65,1.4),(23.65,2.3)], 0.8, ends="flush", simple_path=True, layer=17, datatype=0))  # L17_0
pch_1.add(gdstk.FlexPath([(25.2,1.4),(25.2,2.3)], 0.8, ends="flush", simple_path=True, layer=17, datatype=0))  # L17_0
pch_1.add(gdstk.FlexPath([(0.4,1.7),(0.4,3.3)], 0.6, ends="flush", simple_path=True, layer=17, datatype=0))  # L17_0
pch_1.add(gdstk.FlexPath([(1.95,-0.2),(1.95,2)], 0.6, ends="flush", simple_path=True, layer=17, datatype=0))  # L17_0
pch_1.add(gdstk.FlexPath([(3.5,1.7),(3.5,3.3)], 0.6, ends="flush", simple_path=True, layer=17, datatype=0))  # L17_0
pch_1.add(gdstk.FlexPath([(0.4,3.3),(3.5,3.3)], 0.6, ends="extended", simple_path=True, layer=17, datatype=0))  # L17_0
pch_1.add(gdstk.FlexPath([(5.05,-0.2),(5.05,2)], 0.6, ends="flush", simple_path=True, layer=17, datatype=0))  # L17_0
pch_1.add(gdstk.FlexPath([(1.95,-0.2),(5.05,-0.2)], 0.6, ends="extended", simple_path=True, layer=17, datatype=0))  # L17_0
pch_1.add(gdstk.FlexPath([(6.6,1.7),(6.6,3.3)], 0.6, ends="flush", simple_path=True, layer=17, datatype=0))  # L17_0
pch_1.add(gdstk.FlexPath([(3.5,3.3),(6.6,3.3)], 0.6, ends="extended", simple_path=True, layer=17, datatype=0))  # L17_0
pch_1.add(gdstk.FlexPath([(8.15,-0.2),(8.15,2)], 0.6, ends="flush", simple_path=True, layer=17, datatype=0))  # L17_0
pch_1.add(gdstk.FlexPath([(5.05,-0.2),(8.15,-0.2)], 0.6, ends="extended", simple_path=True, layer=17, datatype=0))  # L17_0
pch_1.add(gdstk.FlexPath([(9.7,1.7),(9.7,3.3)], 0.6, ends="flush", simple_path=True, layer=17, datatype=0))  # L17_0
pch_1.add(gdstk.FlexPath([(6.6,3.3),(9.7,3.3)], 0.6, ends="extended", simple_path=True, layer=17, datatype=0))  # L17_0
pch_1.add(gdstk.FlexPath([(11.25,-0.2),(11.25,2)], 0.6, ends="flush", simple_path=True, layer=17, datatype=0))  # L17_0
pch_1.add(gdstk.FlexPath([(8.15,-0.2),(11.25,-0.2)], 0.6, ends="extended", simple_path=True, layer=17, datatype=0))  # L17_0
pch_1.add(gdstk.FlexPath([(12.8,1.7),(12.8,3.3)], 0.6, ends="flush", simple_path=True, layer=17, datatype=0))  # L17_0
pch_1.add(gdstk.FlexPath([(9.7,3.3),(12.8,3.3)], 0.6, ends="extended", simple_path=True, layer=17, datatype=0))  # L17_0
pch_1.add(gdstk.FlexPath([(14.35,-0.2),(14.35,2)], 0.6, ends="flush", simple_path=True, layer=17, datatype=0))  # L17_0
pch_1.add(gdstk.FlexPath([(11.25,-0.2),(14.35,-0.2)], 0.6, ends="extended", simple_path=True, layer=17, datatype=0))  # L17_0
pch_1.add(gdstk.FlexPath([(15.9,1.7),(15.9,3.3)], 0.6, ends="flush", simple_path=True, layer=17, datatype=0))  # L17_0
pch_1.add(gdstk.FlexPath([(12.8,3.3),(15.9,3.3)], 0.6, ends="extended", simple_path=True, layer=17, datatype=0))  # L17_0
pch_1.add(gdstk.FlexPath([(17.45,-0.2),(17.45,2)], 0.6, ends="flush", simple_path=True, layer=17, datatype=0))  # L17_0
pch_1.add(gdstk.FlexPath([(14.35,-0.2),(17.45,-0.2)], 0.6, ends="extended", simple_path=True, layer=17, datatype=0))  # L17_0
pch_1.add(gdstk.FlexPath([(19,1.7),(19,3.3)], 0.6, ends="flush", simple_path=True, layer=17, datatype=0))  # L17_0
pch_1.add(gdstk.FlexPath([(15.9,3.3),(19,3.3)], 0.6, ends="extended", simple_path=True, layer=17, datatype=0))  # L17_0
pch_1.add(gdstk.FlexPath([(20.55,-0.2),(20.55,2)], 0.6, ends="flush", simple_path=True, layer=17, datatype=0))  # L17_0
pch_1.add(gdstk.FlexPath([(17.45,-0.2),(20.55,-0.2)], 0.6, ends="extended", simple_path=True, layer=17, datatype=0))  # L17_0
pch_1.add(gdstk.FlexPath([(22.1,1.7),(22.1,3.3)], 0.6, ends="flush", simple_path=True, layer=17, datatype=0))  # L17_0
pch_1.add(gdstk.FlexPath([(19,3.3),(22.1,3.3)], 0.6, ends="extended", simple_path=True, layer=17, datatype=0))  # L17_0
pch_1.add(gdstk.FlexPath([(23.65,-0.2),(23.65,2)], 0.6, ends="flush", simple_path=True, layer=17, datatype=0))  # L17_0
pch_1.add(gdstk.FlexPath([(20.55,-0.2),(23.65,-0.2)], 0.6, ends="extended", simple_path=True, layer=17, datatype=0))  # L17_0
pch_1.add(gdstk.FlexPath([(25.2,1.7),(25.2,3.3)], 0.6, ends="flush", simple_path=True, layer=17, datatype=0))  # L17_0
pch_1.add(gdstk.FlexPath([(22.1,3.3),(25.2,3.3)], 0.6, ends="extended", simple_path=True, layer=17, datatype=0))  # L17_0
pch_1.add(gdstk.FlexPath([(1.175,1.4),(1.175,2.3)], 0.35, ends=(0.4, 0.4), simple_path=True, layer=10, datatype=0))  # L10_0
pch_1.add(gdstk.FlexPath([(2.725,1.4),(2.725,2.3)], 0.35, ends=(0.4, 0.4), simple_path=True, layer=10, datatype=0))  # L10_0
pch_1.add(gdstk.FlexPath([(4.275,1.4),(4.275,2.3)], 0.35, ends=(0.4, 0.4), simple_path=True, layer=10, datatype=0))  # L10_0
pch_1.add(gdstk.FlexPath([(5.825,1.4),(5.825,2.3)], 0.35, ends=(0.4, 0.4), simple_path=True, layer=10, datatype=0))  # L10_0
pch_1.add(gdstk.FlexPath([(7.375,1.4),(7.375,2.3)], 0.35, ends=(0.4, 0.4), simple_path=True, layer=10, datatype=0))  # L10_0
pch_1.add(gdstk.FlexPath([(8.925,1.4),(8.925,2.3)], 0.35, ends=(0.4, 0.4), simple_path=True, layer=10, datatype=0))  # L10_0
pch_1.add(gdstk.FlexPath([(10.475,1.4),(10.475,2.3)], 0.35, ends=(0.4, 0.4), simple_path=True, layer=10, datatype=0))  # L10_0
pch_1.add(gdstk.FlexPath([(12.025,1.4),(12.025,2.3)], 0.35, ends=(0.4, 0.4), simple_path=True, layer=10, datatype=0))  # L10_0
pch_1.add(gdstk.FlexPath([(13.575,1.4),(13.575,2.3)], 0.35, ends=(0.4, 0.4), simple_path=True, layer=10, datatype=0))  # L10_0
pch_1.add(gdstk.FlexPath([(15.125,1.4),(15.125,2.3)], 0.35, ends=(0.4, 0.4), simple_path=True, layer=10, datatype=0))  # L10_0
pch_1.add(gdstk.FlexPath([(16.675,1.4),(16.675,2.3)], 0.35, ends=(0.4, 0.4), simple_path=True, layer=10, datatype=0))  # L10_0
pch_1.add(gdstk.FlexPath([(18.225,1.4),(18.225,2.3)], 0.35, ends=(0.4, 0.4), simple_path=True, layer=10, datatype=0))  # L10_0
pch_1.add(gdstk.FlexPath([(19.775,1.4),(19.775,2.3)], 0.35, ends=(0.4, 0.4), simple_path=True, layer=10, datatype=0))  # L10_0
pch_1.add(gdstk.FlexPath([(21.325,1.4),(21.325,2.3)], 0.35, ends=(0.4, 0.4), simple_path=True, layer=10, datatype=0))  # L10_0
pch_1.add(gdstk.FlexPath([(22.875,1.4),(22.875,2.3)], 0.35, ends=(0.4, 0.4), simple_path=True, layer=10, datatype=0))  # L10_0
pch_1.add(gdstk.FlexPath([(24.425,1.4),(24.425,2.3)], 0.35, ends=(0.4, 0.4), simple_path=True, layer=10, datatype=0))  # L10_0
pch_1.add(gdstk.FlexPath([(0.4,0.5),(1.3,0.5),(1.3,1)], 0.6, ends="flush", simple_path=True, layer=10, datatype=0))  # L10_0
pch_1.add(gdstk.FlexPath([(1,0.7),(2.9,0.7)], 0.6, ends="flush", simple_path=True, layer=10, datatype=0))  # L10_0
pch_1.add(gdstk.FlexPath([(2.55,0.7),(4.45,0.7)], 0.6, ends="flush", simple_path=True, layer=10, datatype=0))  # L10_0
pch_1.add(gdstk.FlexPath([(4.1,0.7),(6,0.7)], 0.6, ends="flush", simple_path=True, layer=10, datatype=0))  # L10_0
pch_1.add(gdstk.FlexPath([(5.65,0.7),(7.55,0.7)], 0.6, ends="flush", simple_path=True, layer=10, datatype=0))  # L10_0
pch_1.add(gdstk.FlexPath([(7.2,0.7),(9.1,0.7)], 0.6, ends="flush", simple_path=True, layer=10, datatype=0))  # L10_0
pch_1.add(gdstk.FlexPath([(8.75,0.7),(10.65,0.7)], 0.6, ends="flush", simple_path=True, layer=10, datatype=0))  # L10_0
pch_1.add(gdstk.FlexPath([(10.3,0.7),(12.2,0.7)], 0.6, ends="flush", simple_path=True, layer=10, datatype=0))  # L10_0
pch_1.add(gdstk.FlexPath([(11.85,0.7),(13.75,0.7)], 0.6, ends="flush", simple_path=True, layer=10, datatype=0))  # L10_0
pch_1.add(gdstk.FlexPath([(13.4,0.7),(15.3,0.7)], 0.6, ends="flush", simple_path=True, layer=10, datatype=0))  # L10_0
pch_1.add(gdstk.FlexPath([(14.95,0.7),(16.85,0.7)], 0.6, ends="flush", simple_path=True, layer=10, datatype=0))  # L10_0
pch_1.add(gdstk.FlexPath([(16.5,0.7),(18.4,0.7)], 0.6, ends="flush", simple_path=True, layer=10, datatype=0))  # L10_0
pch_1.add(gdstk.FlexPath([(18.05,0.7),(19.95,0.7)], 0.6, ends="flush", simple_path=True, layer=10, datatype=0))  # L10_0
pch_1.add(gdstk.FlexPath([(19.6,0.7),(21.5,0.7)], 0.6, ends="flush", simple_path=True, layer=10, datatype=0))  # L10_0
pch_1.add(gdstk.FlexPath([(21.15,0.7),(23.05,0.7)], 0.6, ends="flush", simple_path=True, layer=10, datatype=0))  # L10_0
pch_1.add(gdstk.FlexPath([(22.7,0.7),(24.6,0.7)], 0.6, ends="flush", simple_path=True, layer=10, datatype=0))  # L10_0
pch_1.add(gdstk.Reference(dcont, (0.4,1.85)))
pch_1.add(gdstk.Reference(dcont, (1.95,1.85)))
pch_1.add(gdstk.Reference(dcont, (3.5,1.85)))
pch_1.add(gdstk.Reference(dcont, (5.05,1.85)))
pch_1.add(gdstk.Reference(dcont, (6.6,1.85)))
pch_1.add(gdstk.Reference(dcont, (8.15,1.85)))
pch_1.add(gdstk.Reference(dcont, (9.7,1.85)))
pch_1.add(gdstk.Reference(dcont, (11.25,1.85)))
pch_1.add(gdstk.Reference(dcont, (12.8,1.85)))
pch_1.add(gdstk.Reference(dcont, (14.35,1.85)))
pch_1.add(gdstk.Reference(dcont, (15.9,1.85)))
pch_1.add(gdstk.Reference(dcont, (17.45,1.85)))
pch_1.add(gdstk.Reference(dcont, (19,1.85)))
pch_1.add(gdstk.Reference(dcont, (20.55,1.85)))
pch_1.add(gdstk.Reference(dcont, (22.1,1.85)))
pch_1.add(gdstk.Reference(dcont, (23.65,1.85)))
pch_1.add(gdstk.Reference(dcont, (25.2,1.85)))
pch_1.add(gdstk.Reference(pcont, (0.4,0.4)))
pch_1.add(gdstk.Reference(nsubcont, (25.45,-0.2)))

top = lib.new_cell('TOP')
r = gdstk.Reference(unitcap, (555.05,2852.45)); r.repetition = gdstk.Repetition(64, 32, v1=(7.4,0), v2=(0,7.4)); top.add(r)
r = gdstk.Reference(unitcap, (214.6,-229.4), rotation=pi/2); r.repetition = gdstk.Repetition(32, 32, v1=(0,7.4), v2=(-7.4,0)); top.add(r)
r = gdstk.Reference(unitcap, (466.2,-177.6), rotation=pi/2); r.repetition = gdstk.Repetition(8, 16, v1=(0,7.4), v2=(-7.4,0)); top.add(r)
r = gdstk.Reference(unitcap, (340.4,-236.8), rotation=pi/2); r.repetition = gdstk.Repetition(16, 16, v1=(0,7.4), v2=(-7.4,0)); top.add(r)
r = gdstk.Reference(unitcap, (407,-244.2), rotation=pi/2); r.repetition = gdstk.Repetition(8, 8, v1=(0,7.4), v2=(-7.4,0)); top.add(r)
r = gdstk.Reference(unitcap, (473.6,-214.6), rotation=pi/2); r.repetition = gdstk.Repetition(4, 8, v1=(0,7.4), v2=(-7.4,0)); top.add(r)
r = gdstk.Reference(unitcap, (444,-251.6), rotation=pi/2); r.repetition = gdstk.Repetition(4, 4, v1=(0,7.4), v2=(-7.4,0)); top.add(r)
r = gdstk.Reference(unitcap, (481,-236.8), rotation=pi/2); r.repetition = gdstk.Repetition(2, 4, v1=(0,7.4), v2=(-7.4,0)); top.add(r)
r = gdstk.Reference(unitcap, (466.2,-259), rotation=pi/2); r.repetition = gdstk.Repetition(2, 2, v1=(0,7.4), v2=(-7.4,0)); top.add(r)
r = gdstk.Reference(unitcap, (488.4,-251.6), rotation=pi/2); r.repetition = gdstk.Repetition(1, 2, v1=(0,0), v2=(-7.4,0)); top.add(r)
r = gdstk.Reference(unitcap, (495.8,-266.45), rotation=pi/2); r.repetition = gdstk.Repetition(1, 1, v1=(0,0), v2=(0,0)); top.add(r)
r = gdstk.Reference(unitcap, (481,-266.45), rotation=pi/2); r.repetition = gdstk.Repetition(1, 1, v1=(0,0), v2=(0,0)); top.add(r)
r = gdstk.Reference(unitcap, (458.8,-111), rotation=pi/2); r.repetition = gdstk.Repetition(16, 32, v1=(0,7.4), v2=(-7.4,0)); top.add(r)
top.add(gdstk.Reference(nch_4, (2225.9,949.05)))
top.add(gdstk.Reference(nch_3, (2211.4,920.25)))
top.add(gdstk.Reference(nch_2, (2211.9,929.2)))
top.add(gdstk.Reference(pch_1, (2225.9,946.15)))

lib.write_gds('TOP.gds')
